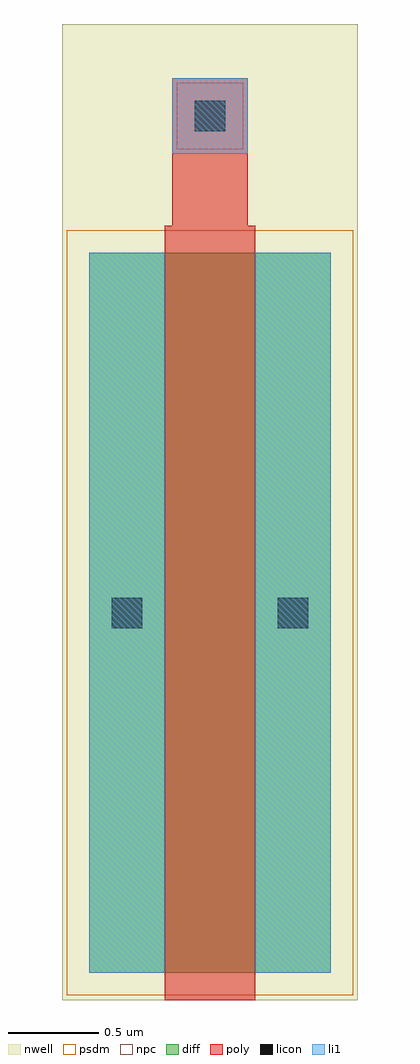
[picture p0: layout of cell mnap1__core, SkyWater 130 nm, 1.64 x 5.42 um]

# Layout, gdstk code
import gdstk
lib = gdstk.Library(unit=1e-6, precision=1e-09)
def R(c, l, rs):  # rectangles x0, y0, x1, y1
    for r in rs: c.add(gdstk.rectangle(r[:2], r[2:], *l))
nwell = (64, 20)
diff = (65, 20)
poly = (66, 20)
licon = (66, 44)
li1 = (67, 20)
psdm = (94, 20)
npc = (95, 20)

mnap1__core = lib.new_cell('mnap1__core')
R(mnap1__core, nwell, [(-0.15,-0.15,1.49,5.27)])
R(mnap1__core, diff, [(0,0,1.34,4)])
R(mnap1__core, poly, [(0.42,-0.15,0.92,4), (0.42,4,0.92,4.15), (0.42,4,0.92,4.15), (0.46,4.15,0.88,4.97)])
R(mnap1__core, licon, [(0.125,1.915,0.295,2.085), (1.045,1.915,1.215,2.085), (0.585,4.675,0.755,4.845)])
R(mnap1__core, li1, [(0,0,0.42,4), (0.92,0,1.34,4), (0.46,4.55,0.88,4.97)])
R(mnap1__core, psdm, [(-0.125,-0.125,1.465,4.125)])
R(mnap1__core, npc, [(0.485,4.575,0.855,4.945)])

lib.write_gds('mnap1__core.gds')
